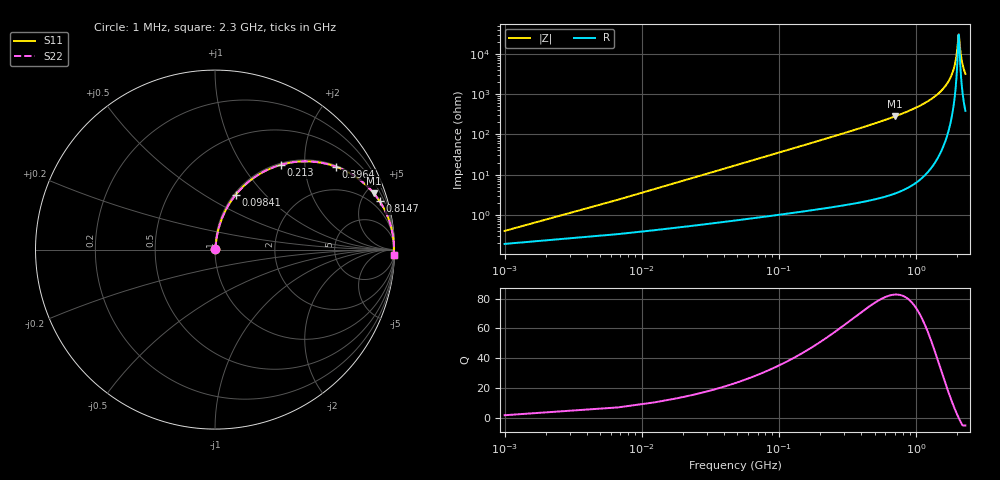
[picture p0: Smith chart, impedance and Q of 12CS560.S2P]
! Coilcraft 1206CS-560 Chip Inductor
! 29 July 2002
# MHZ S MA R 50
!Freq  MagS11  AngS11  MagS21  AngS21  MagS12  AngS12  MagS22  AngS22
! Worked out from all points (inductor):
!   403 points, 1 MHz to 2.3 GHz, reference 50 ohm
!   read as one part in series: L = 56 nH near 12.46 MHz
!   highest Q = 82.7 at 705.8 MHz (marker M1), where L = 63.5 nH
!   self-resonance near 2.052 GHz
!   S11 on the Smith chart (normalised r, x): 1 MHz: 1.00, +0.01; 98.41 MHz: 1.02, +0.69; 213 MHz: 1.03, +1.52; 396.4 MHz: 1.04, +2.90; 814.7 MHz: 1.08, +6.80; 2.3 GHz: 9, -64
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1  0.003991 61.4  0.9981 -0.2  0.9981 -0.2  0.003991 61.4
18.19  0.06375 82.0  0.9932 -3.6  0.9932 -3.6  0.06375 82.0
29.65  0.1033 80.8  0.9888 -5.9  0.9888 -5.9  0.1033 80.8
58.3  0.1997 76.3  0.9722 -11.5  0.9722 -11.5  0.1997 76.3
98.41  0.3251 69.4  0.9364 -19.0  0.9364 -19.0  0.3251 69.4
213.01  0.5985 52.2  0.7898 -36.8  0.7898 -36.8  0.5985 52.2
384.91  0.809 35.2  0.5763 -54.0  0.5763 -54.0  0.809 35.2
396.37  0.8176 34.4  0.5644 -54.8  0.5644 -54.8  0.8176 34.4
705.79  0.9387 19.5  0.3335 -69.8  0.3335 -69.8  0.9387 19.5
768.82  0.9497 17.6  0.302 -71.7  0.302 -71.7  0.9497 17.6
814.66  0.9562 16.3  0.2812 -73.0  0.2812 -73.0  0.9562 16.3
1152.73  0.9835 9.6  0.1663 -79.5  0.1663 -79.5  0.9835 9.6
1536.64  0.9941 4.7  0.08121 -83.5  0.08121 -83.5  0.9941 4.7
1771.57  0.9963 2.4  0.04129 -83.7  0.04129 -83.7  0.9963 2.4
1920.55  0.9968 1.1  0.01907 -79.8  0.01907 -79.8  0.9968 1.1
1983.58  0.9968 0.6  0.01041 -72.0  0.01041 -72.0  0.9968 0.6
2040.88  0.9968 0.1  0.003837 -32.7  0.003837 -32.7  0.9968 0.1
2058.07  0.9967 -0.0  0.003264 4.0  0.003264 4.0  0.9967 -0.0
2115.37  0.9966 -0.4  0.008488 66.2  0.008488 66.2  0.9966 -0.4
2155.48  0.9965 -0.7  0.01342 74.4  0.01342 74.4  0.9965 -0.7
2218.51  0.9962 -1.2  0.02122 79.1  0.02122 79.1  0.9962 -1.2
2300  0.9958 -1.8  0.0311 81.3  0.0311 81.3  0.9958 -1.8
